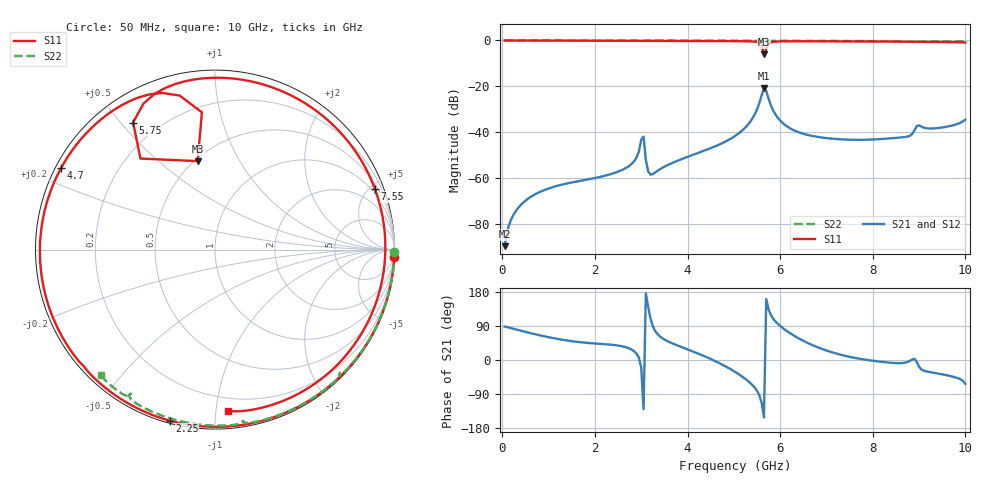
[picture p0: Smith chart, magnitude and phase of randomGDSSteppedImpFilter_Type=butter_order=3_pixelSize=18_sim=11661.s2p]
! freq	dB(S11)	phase(S11)	dB(S12)	phase(S12)
!  dB(S21)	phase(S21)	dB(S22)	phase(S22)
!S-par simulation data
#  GHz  S  DB  R 50
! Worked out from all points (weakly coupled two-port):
!   200 points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, 50 MHz to 10 GHz, reference 50 ohm
!   highest |S21| = -20.75 dB at 5.65 GHz (marker M1); lowest = -89.4 dB at 50 MHz (marker M2)
!   lowest |S11| = -6.0 dB at 5.65 GHz (marker M3), VSWR 3.02, Z = 25.9 + j34.1 ohm
!   |S11| at or under -10 dB: nowhere
!   |S22| runs from -0.6 to 0.0 dB; largest |S21 - S12| = 0
!   S11 on the Smith chart (normalised r, x): 50 MHz: 0, -46; 2.25 GHz: 0.01, -0.77; 4.7 GHz: 0.02, +0.25; 5.75 GHz: 0.11, +0.54; 7.55 GHz: 0.73, +5.36; 10 GHz: 0.11, -1.08
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0.05  -0.00 -2.5  -89.43 88.3  -89.43 88.3  -0.00 -0.8
0.7  -0.04 -34.2  -66.98 68.3  -66.98 68.3  -0.01 -10.7
1.75  -0.10 -83.0  -60.78 46.1  -60.78 46.1  -0.03 -26.4
2.25  -0.12 -104.8  -58.65 41.4  -58.65 41.4  -0.04 -33.8
2.8  -0.15 -128.1  -53.52 27.0  -53.52 27.0  -0.06 -41.9
3.05  -0.19 -138.3  -41.77 -129.7  -41.77 -129.7  -0.20 -44.5
3.1  -0.17 -140.4  -51.91 176.0  -51.91 176.0  -0.08 -45.6
3.15  -0.17 -142.5  -56.90 139.6  -56.90 139.6  -0.07 -46.5
3.4  -0.18 -152.8  -56.03 62.6  -56.03 62.6  -0.07 -50.2
4.7  -0.26 152.2  -45.12 -9.0  -45.12 -9.0  -0.10 -68.1
5.05  -0.30 136.0  -41.21 -33.2  -41.21 -33.2  -0.11 -72.8
5.35  -0.41 120.0  -35.42 -60.2  -35.42 -60.2  -0.13 -76.8
5.55  -1.10 102.9  -27.27 -93.0  -27.27 -93.0  -0.16 -79.7
5.65  -5.98 101.1  -20.75 -151.5  -20.75 -151.5  -0.30 -80.8
5.7  -3.67 129.3  -21.95 160.7  -21.95 160.7  -0.27 -80.7
5.75  -1.49 122.8  -25.37 133.4  -25.37 133.4  -0.20 -81.3
6.05  -0.40 97.3  -35.80 84.9  -35.80 84.9  -0.16 -85.4
6.7  -0.37 63.1  -41.54 39.1  -41.54 39.1  -0.18 -93.6
7.55  -0.42 20.8  -43.17 7.0  -43.17 7.0  -0.23 -104.0
8.35  -0.49 -16.8  -42.61 -6.9  -42.61 -6.9  -0.30 -113.6
9.2  -0.62 -53.5  -38.26 -31.2  -38.26 -31.2  -0.40 -122.6
10  -0.90 -85.3  -34.44 -63.1  -34.44 -63.1  -0.48 -132.2
